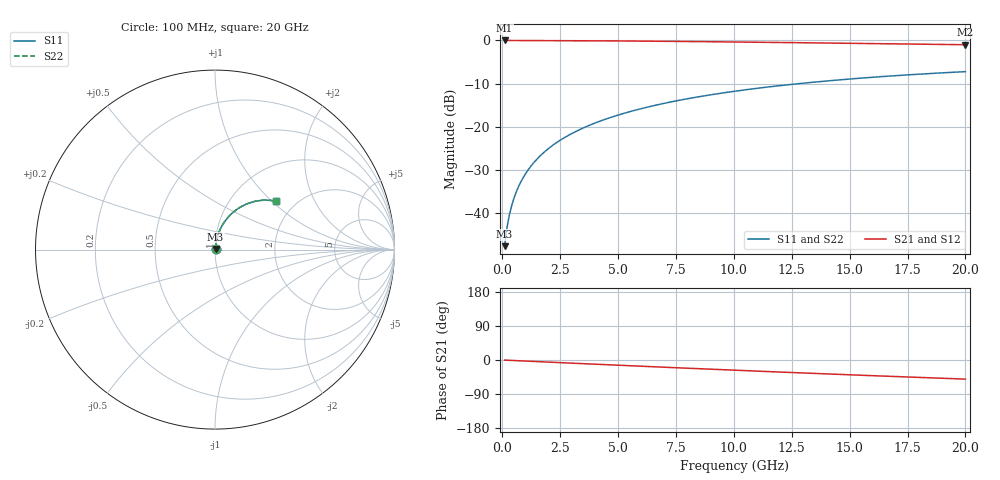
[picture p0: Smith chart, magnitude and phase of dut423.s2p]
! Touchstone file exported from HFSS 2026.1.0
!  File:  C:/ffzhzh/LocalFiles/Ansys_Project_Files/temp_train_TMRDL_423_1783005313_4048.aedt
!  Generated:  11:16:54 PM Jul  2, 2026
!  Design:  TMRDL
!  Project:  temp_train_TMRDL_423_1783005313_4048
! Variables:
!  h_bsmrdl = 2um
!  h_ox = 20um
!  h_rdl = 5um
!  h_sub = 80um
!  h_tmrdl = 3.86um
!  h_tsv = 80um
!  h_via = 3um
!  l_bsmrdl = 300um
!  l_sub = 1157.78um
!  l_tmrdl = 757.78um
!  m_sub = 200um
!  pitch = 58.14um
!  r_tsv = 6um
!  s_tmrdl = 10um
!  w_bsmrdl = 18um
!  w_sub = 500um
!  w_tmrdl = 27.14um
!  x_tsv_center1 = 771.35um
!  x_tsv_center2 = 1089.35um
!  x_tsv_center3 = 1874.27um
!  x_tsv_center4 = 2192.27um
!  x_tsv_center5 = 2977.19um
!  x_tsv_center6 = 3295.19um
# GHz S MA R 50.000000
! Terminal data exported
! Port[1] = TM_RDL1_1_T1
! Port[2] = TM_RDL1_1_T2
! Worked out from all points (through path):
!   200 points, 100 MHz to 20 GHz, reference 50 ohm
!   highest |S21| = -0.02 dB at 100 MHz (marker M1); lowest = -1.0 dB at 20 GHz (marker M2)
!   group delay of S21, straight-line fit = 7.01 ps
!   lowest |S11| = -47.6 dB at 100 MHz (marker M3), VSWR 1.01, Z = 50.3 + j0.308 ohm
!   |S11| at or under -10 dB: start of sweep to 12.83 GHz
!   |S22| runs from -47.6 to -7.2 dB; largest |S21 - S12| = 1.4e-14
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0.1  0.004155 47.6  0.9972 -0.3  0.9972 -0.3  0.004155 47.6
! Gamma 0 0 0 0
! Port Impedance 50 0 50 0
0.2  0.006722 63.1  0.997 -0.6  0.997 -0.6  0.006722 63.1
0.3  0.009402 69.5  0.9968 -0.9  0.9968 -0.9  0.009402 69.5
0.4  0.01209 73.1  0.9967 -1.1  0.9967 -1.1  0.01209 73.1
0.5  0.0148 75.4  0.9965 -1.4  0.9965 -1.4  0.0148 75.4
0.7  0.02025 78.1  0.9963 -2.0  0.9963 -2.0  0.02025 78.1
0.8  0.023 78.9  0.9962 -2.2  0.9962 -2.2  0.023 78.9
1  0.02851 79.9  0.996 -2.8  0.996 -2.8  0.02851 79.9
1.2  0.03404 80.4  0.9957 -3.4  0.9957 -3.4  0.03404 80.4
1.4  0.03957 80.6  0.9955 -3.9  0.9955 -3.9  0.03957 80.6
1.7  0.04787 80.6  0.995 -4.7  0.995 -4.7  0.04787 80.6
2  0.05615 80.3  0.9944 -5.6  0.9944 -5.6  0.05615 80.3
2.7  0.07535 79.1  0.9928 -7.5  0.9928 -7.5  0.07535 79.1
3.5  0.09701 77.4  0.9904 -9.7  0.9904 -9.7  0.09701 77.4
4.2  0.1157 75.7  0.9879 -11.6  0.9879 -11.6  0.1157 75.7
5  0.1366 73.7  0.9847 -13.8  0.9847 -13.8  0.1366 73.7
6.8  0.1821 69.2  0.9762 -18.6  0.9762 -18.6  0.1821 69.2
8.3  0.2182 65.4  0.9681 -22.5  0.9681 -22.5  0.2182 65.5
10.1  0.2592 61.0  0.9572 -27.1  0.9572 -27.1  0.2592 61.0
13.4  0.3273 53.1  0.9353 -35.3  0.9353 -35.3  0.3273 53.1
16.7  0.3858 45.5  0.9124 -43.0  0.9124 -43.0  0.3858 45.5
20  0.4346 38.2  0.8901 -50.4  0.8901 -50.4  0.4347 38.2
